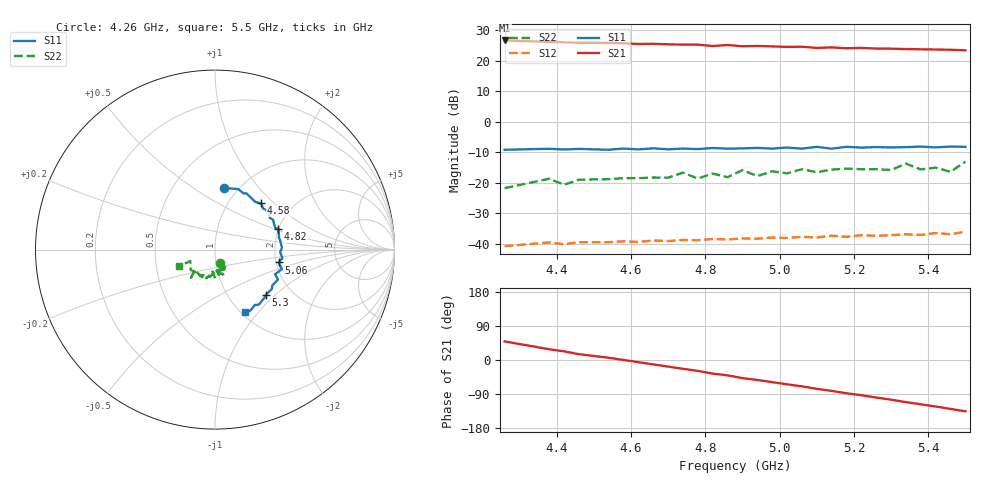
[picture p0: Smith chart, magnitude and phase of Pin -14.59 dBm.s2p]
! RsaToolbox (C) 2015 Rohde & Schwarz America
! Number of points: 29
! Number of ports: 2
! Balanced ports?: No
# Hz S RI R 50
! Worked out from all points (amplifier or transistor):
!   29 points, 4.26 GHz to 5.5 GHz, reference 50 ohm
!   highest |S21| = 26.6 dB at 4.26 GHz (marker M1)
!   |S21| within 3 dB of that: start of sweep to 5.436 GHz
!   unconditionally stable (mu >= 1): start of sweep to end of sweep
!   at 4.54 GHz: K = 2.14, MAG = 26.6 dB, |S12| = -39.5 dB
!   at 4.94 GHz: K = 2.06, MAG = 25.7 dB, |S12| = -38.3 dB
!   at 5.5 GHz: K = 1.78, MAG = 24.6 dB, |S12| = -36.0 dB
!   S11 on the Smith chart (normalised r, x): 4.26 GHz: 0.86, +0.67; 4.58 GHz: 1.41, +0.83; 4.82 GHz: 2.00, +0.53; 5.06 GHz: 2.06, -0.34; 5.3 GHz: 1.49, -0.87; 5.5 GHz: 1.04, -0.86
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4.26e9  0.0509 0.3439  14.09 16.21  0.00869 0.0029  0.0305 -0.0758
4.38e9  0.129 0.3371  17.88 9.686  0.0105 0.00063  0.0509 -0.1049
4.42e9  0.1594 0.3129  18.44 7.766  0.00985 -4.11e-05  0.0437 -0.082
4.46e9  0.1748 0.3136  18.97 5.209  0.0106 -0.00101  0.0563 -0.0972
4.54e9  0.225 0.2654  19.52 2.024  0.0103 -0.00272  0.0197 -0.1131
4.58e9  0.2577 0.2575  19.3 0.0638  0.0105 -0.00326  0.0552 -0.1057
4.62e9  0.2678 0.2289  18.72 -1.876  0.00969 -0.0046  0.0259 -0.1161
4.66e9  0.298 0.2151  18.54 -3.804  0.0103 -0.00491  0.0501 -0.1114
4.7e9  0.3059 0.1762  17.71 -5.54  0.009 -0.00646  -0.000433 -0.1213
4.78e9  0.3355 0.1214  16.09 -8.814  0.00824 -0.008  0.00927 -0.117
4.82e9  0.3535 0.1149  14.08 -10.2  0.00858 -0.00838  0.0244 -0.1398
4.86e9  0.3571 0.0634  13.76 -11.75  0.0071 -0.00944  -0.015 -0.1226
4.9e9  0.3615 0.0561  11.56 -12.77  0.00708 -0.01  0.00132 -0.1611
4.94e9  0.3729 0.0099  10.59 -13.88  0.0059 -0.0106  -0.00762 -0.1285
5.06e9  0.3551 -0.0719  5.911 -15.88  0.00328 -0.0126  -0.0495 -0.1596
5.1e9  0.3726 -0.109  3.88 -15.74  0.00269 -0.0124  -0.0303 -0.1459
5.14e9  0.3349 -0.1374  2.439 -16.37  0.000971 -0.0135  -0.0838 -0.1413
5.18e9  0.3513 -0.1665  0.6062 -15.99  0.000493 -0.013  -0.0643 -0.1584
5.22e9  0.3199 -0.199  -0.8123 -16.19  -0.0011 -0.0138  -0.0844 -0.144
5.3e9  0.2845 -0.2506  -3.983 -15.25  -0.00319 -0.0135  -0.1136 -0.1155
5.42e9  0.2229 -0.3079  -8.261 -12.83  -0.00658 -0.0135  -0.1355 -0.1139
5.5e9  0.1689 -0.3497  -10.54 -10.4  -0.00903 -0.0129  -0.2014 -0.0933
